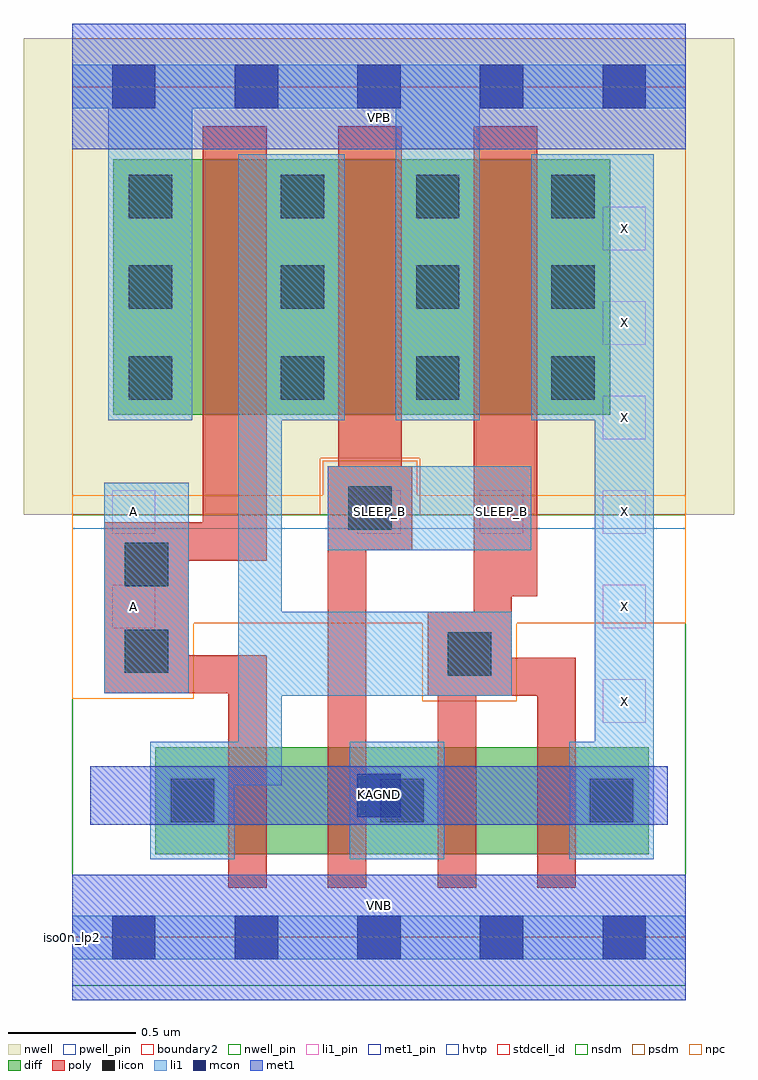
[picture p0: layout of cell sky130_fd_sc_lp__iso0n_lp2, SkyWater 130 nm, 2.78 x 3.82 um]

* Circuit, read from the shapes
.subckt sky130_fd_sc_lp__iso0n_lp2 A KAGND SLEEP_B VGND VNB VPB VPWR X
XM1 n1 A n2 VNB sky130_fd_pr__nfet_01v8 w=0.42 l=0.15
XM2 KAGND SLEEP_B n1 VNB sky130_fd_pr__nfet_01v8 w=0.42 l=0.15
XM3 n3 n2 KAGND VNB sky130_fd_pr__nfet_01v8 w=0.42 l=0.15
XM4 X n2 n3 VNB sky130_fd_pr__nfet_01v8 w=0.42 l=0.15
XM5 n2 A VPWR VPB sky130_fd_pr__pfet_01v8_hvt w=1 l=0.25
XM6 VPWR SLEEP_B n2 VPB sky130_fd_pr__pfet_01v8_hvt w=1 l=0.25
XM7 X n2 VPWR VPB sky130_fd_pr__pfet_01v8_hvt w=1 l=0.25
.ends

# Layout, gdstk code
import gdstk
lib = gdstk.Library(unit=1e-6, precision=1e-09)
def R(c, l, rs):  # rectangles x0, y0, x1, y1
    for r in rs: c.add(gdstk.rectangle(r[:2], r[2:], *l))
def A(c, l, x, y, w, h, nx, ny, dx, dy):  # array of equal rectangles
    R(c, l, [(x+i*dx, y+j*dy, x+i*dx+w, y+j*dy+h) for i in range(nx) for j in range(ny)])
def P(c, l, *ps):  # polygons
    for p in ps: c.add(gdstk.Polygon(p, *l))
nwell_pin = (64, 16)
nwell = (64, 20)
diff = (65, 20)
poly = (66, 20)
licon = (66, 44)
li1_pin = (67, 16)
li1 = (67, 20)
mcon = (67, 44)
met1_pin = (68, 16)
met1 = (68, 20)
hvtp = (78, 44)
stdcell_id = (81, 4)
nsdm = (93, 44)
psdm = (94, 20)
npc = (95, 20)
pwell_pin = (122, 16)
boundary2 = (236, 0)

sky130_fd_sc_lp__iso0n_l = lib.new_cell('sky130_fd_sc_lp__iso0n_lp2')
R(sky130_fd_sc_lp__iso0n_l, nwell_pin, [(0,3.085,2.4,3.33)])
R(sky130_fd_sc_lp__iso0n_l, nwell, [(-0.19,1.655,2.59,3.52)])
R(sky130_fd_sc_lp__iso0n_l, diff, [(0.325,0.325,2.255,0.745), (0.16,2.045,2.105,3.045)])
P(sky130_fd_sc_lp__iso0n_l, poly, [(0.76,1.105),(0.455,1.105),(0.455,1.475),(0.76,1.475),(0.76,3.175),(0.51,3.175),(0.51,1.625),(0.125,1.625),(0.125,0.955),(0.61,0.955),(0.61,0.195),(0.76,0.195)],
  [(1.33,1.845),(1.29,1.845),(1.29,3.175),(1.04,3.175),(1.04,1.845),(1,1.845),(1,0.195),(1.15,0.195),(1.15,1.515),(1.33,1.515)],
  [(1.97,1.095),(1.72,1.095),(1.72,1.335),(1.82,1.335),(1.82,3.175),(1.57,3.175),(1.57,1.275),(1.39,1.275),(1.39,0.945),(1.43,0.945),(1.43,0.195),(1.58,0.195),(1.58,0.945),(1.82,0.945),(1.82,0.195),(1.97,0.195)])
A(sky130_fd_sc_lp__iso0n_l, licon, 0.385, 0.45, 0.17, 0.17, 3, 1, 0.82, 0)
A(sky130_fd_sc_lp__iso0n_l, licon, 0.22, 2.105, 0.17, 0.17, 1, 3, 0, 0.355)
A(sky130_fd_sc_lp__iso0n_l, licon, 0.815, 2.105, 0.17, 0.17, 3, 3, 0.53, 0.355)
R(sky130_fd_sc_lp__iso0n_l, licon, [(1.47,1.025,1.64,1.195), (0.205,1.035,0.375,1.205), (0.205,1.375,0.375,1.545), (1.08,1.595,1.25,1.765)])
A(sky130_fd_sc_lp__iso0n_l, li1_pin, 1.115, 1.58, 0.17, 0.17, 3, 1, 0.48, 0)
A(sky130_fd_sc_lp__iso0n_l, li1_pin, 2.075, 1.95, 0.17, 0.17, 1, 3, 0, 0.37)
R(sky130_fd_sc_lp__iso0n_l, li1_pin, [(2.075,0.84,2.245,1.01), (0.155,1.21,0.325,1.38), (2.075,1.21,2.245,1.38), (0.155,1.58,0.325,1.75)])
R(sky130_fd_sc_lp__iso0n_l, li1, [(0,-0.085,2.4,0.085), (1.085,0.305,1.455,0.765), (0.125,0.955,0.455,1.78), (1,1.515,1.795,1.845)])
P(sky130_fd_sc_lp__iso0n_l, li1, [(0.14,2.025),(0.14,3.245),(0,3.245),(0,3.415),(2.4,3.415),(2.4,3.245),(1.595,3.245),(1.595,2.025),(1.265,2.025),(1.265,3.245),(0.47,3.245),(0.47,2.025)],
  [(0.82,0.595),(0.635,0.595),(0.635,0.305),(0.305,0.305),(0.305,0.765),(0.65,0.765),(0.65,3.065),(1.065,3.065),(1.065,2.025),(0.82,2.025),(0.82,1.275),(1.72,1.275),(1.72,0.945),(0.82,0.945)],
  [(1.795,2.025),(1.795,3.065),(2.275,3.065),(2.275,0.305),(1.945,0.305),(1.945,0.765),(2.045,0.765),(2.045,2.025)])
A(sky130_fd_sc_lp__iso0n_l, mcon, 0.155, -0.085, 0.17, 0.17, 5, 2, 0.48, 3.33)
R(sky130_fd_sc_lp__iso0n_l, mcon, [(1.115,0.47,1.285,0.64)])
R(sky130_fd_sc_lp__iso0n_l, met1_pin, [(0,0,2.4,0.245), (0.07,0.44,2.33,0.67), (0,3.085,2.4,3.33)])
R(sky130_fd_sc_lp__iso0n_l, met1, [(0,-0.245,2.4,0.245), (0.07,0.44,2.33,0.67), (0,3.085,2.4,3.575)])
R(sky130_fd_sc_lp__iso0n_l, hvtp, [(0,1.6,2.4,3.33)])
R(sky130_fd_sc_lp__iso0n_l, stdcell_id, [(0,0,2.4,3.33)])
R(sky130_fd_sc_lp__iso0n_l, nsdm, [(0,-0.19,2.4,1.655)])
P(sky130_fd_sc_lp__iso0n_l, psdm, [(2.4,3.52),(0,3.52),(0,1.655),(0.97,1.655),(0.97,1.875),(1.36,1.875),(1.36,1.655),(2.4,1.655)])
P(sky130_fd_sc_lp__iso0n_l, npc, [(2.4,1.73),(1.35,1.73),(1.35,1.865),(0.98,1.865),(0.98,1.73),(0,1.73),(0,0.935),(0.475,0.935),(0.475,1.23),(1.37,1.23),(1.37,0.925),(1.74,0.925),(1.74,1.23),(2.4,1.23)])
R(sky130_fd_sc_lp__iso0n_l, pwell_pin, [(0,0,2.4,0.245)])
R(sky130_fd_sc_lp__iso0n_l, boundary2, [(0,0,2.4,3.33)])
sky130_fd_sc_lp__iso0n_l.add(gdstk.Label('VNB', (1.2,0.123), layer=64, texttype=59))
sky130_fd_sc_lp__iso0n_l.add(gdstk.Label('VPB', (1.2,3.208), layer=64, texttype=5))
sky130_fd_sc_lp__iso0n_l.add(gdstk.Label('iso0n_lp2', (0,0), layer=83, texttype=44))
sky130_fd_sc_lp__iso0n_l.add(gdstk.Label('KAGND', (1.2,0.558), layer=68, texttype=5))
sky130_fd_sc_lp__iso0n_l.add(gdstk.Label('VPWR', (1.2,3.208), layer=68, texttype=5))
sky130_fd_sc_lp__iso0n_l.add(gdstk.Label('VGND', (1.2,0.123), layer=68, texttype=5))
sky130_fd_sc_lp__iso0n_l.add(gdstk.Label('SLEEP_B', (1.2,1.665), layer=67, texttype=5))
sky130_fd_sc_lp__iso0n_l.add(gdstk.Label('SLEEP_B', (1.68,1.665), layer=67, texttype=5))
sky130_fd_sc_lp__iso0n_l.add(gdstk.Label('A', (0.24,1.295), layer=67, texttype=5))
sky130_fd_sc_lp__iso0n_l.add(gdstk.Label('A', (0.24,1.665), layer=67, texttype=5))
sky130_fd_sc_lp__iso0n_l.add(gdstk.Label('X', (2.16,0.925), layer=67, texttype=5))
sky130_fd_sc_lp__iso0n_l.add(gdstk.Label('X', (2.16,1.295), layer=67, texttype=5))
sky130_fd_sc_lp__iso0n_l.add(gdstk.Label('X', (2.16,1.665), layer=67, texttype=5))
sky130_fd_sc_lp__iso0n_l.add(gdstk.Label('X', (2.16,2.035), layer=67, texttype=5))
sky130_fd_sc_lp__iso0n_l.add(gdstk.Label('X', (2.16,2.405), layer=67, texttype=5))
sky130_fd_sc_lp__iso0n_l.add(gdstk.Label('X', (2.16,2.775), layer=67, texttype=5))

lib.write_gds('sky130_fd_sc_lp__iso0n_lp2.gds')
